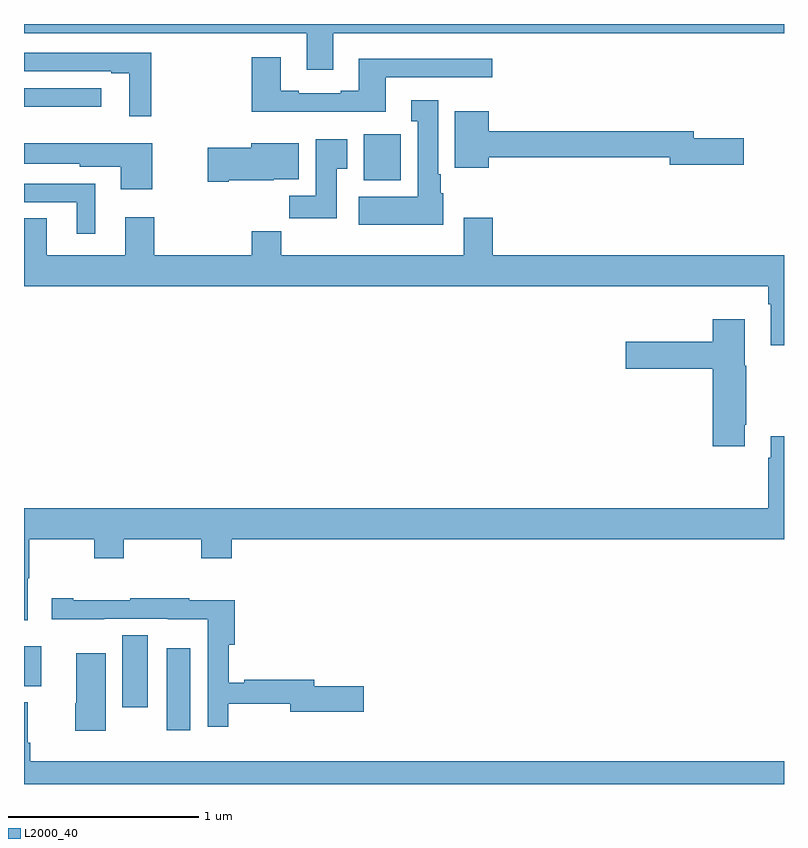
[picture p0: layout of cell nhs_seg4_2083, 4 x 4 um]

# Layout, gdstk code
import gdstk
lib = gdstk.Library(unit=1e-6, precision=1e-09)
def R(c, l, rs):  # rectangles x0, y0, x1, y1
    for r in rs: c.add(gdstk.rectangle(r[:2], r[2:], *l))
def P(c, l, *ps):  # polygons
    for p in ps: c.add(gdstk.Polygon(p, *l))
L2000_40 = (2000, 40)

nhs_seg4_2083 = lib.new_cell('nhs_seg4_2083')
R(nhs_seg4_2083, L2000_40, [(219.752,761.184,219.874,761.614), (219.518,761.304,219.652,761.684), (219,761.414,219.091,761.626), (220.787,764.078,220.984,764.32), (219,764.465,219.406,764.562)])
P(nhs_seg4_2083, L2000_40, [(220.627,764.852),(223,764.852),(223,764.9),(219,764.9),(219,764.852),(220.487,764.852),(220.487,764.658),(220.627,764.658)],
  [(219.671,764.748),(219,764.748),(219,764.652),(219.458,764.652),(219.458,764.64),(219.554,764.64),(219.554,764.415),(219.671,764.415)],
  [(220.903,764.619),(221.464,764.619),(221.464,764.716),(220.763,764.716),(220.763,764.548),(220.667,764.548),(220.667,764.535),(220.447,764.535),(220.447,764.548),(220.351,764.548),(220.351,764.725),(220.199,764.725),(220.199,764.438),(220.903,764.438)],
  [(221.206,764.01),(221.194,764.01),(221.194,764.11),(221.179,764.11),(221.179,764.5),(221.039,764.5),(221.039,764.387),(221.072,764.387),(221.072,763.99),(220.763,763.99),(220.763,763.844),(221.206,763.844)],
  [(221.446,764.2),(222.398,764.2),(222.398,764.158),(222.787,764.158),(222.787,764.3),(222.526,764.3),(222.526,764.336),(221.446,764.336),(221.446,764.44),(221.267,764.44),(221.267,764.144),(221.446,764.144)],
  [(220.645,764.137),(220.702,764.137),(220.702,764.293),(220.535,764.293),(220.535,763.996),(220.396,763.996),(220.396,763.878),(220.645,763.878)],
  [(220.078,764.078),(220.314,764.078),(220.314,764.084),(220.447,764.084),(220.447,764.272),(220.196,764.272),(220.196,764.249),(219.966,764.249),(219.966,764.071),(220.078,764.071)],
  [(219.676,764.272),(219,764.272),(219,764.165),(219.294,764.165),(219.294,764.15),(219.509,764.15),(219.509,764.031),(219.676,764.031)],
  [(219.376,764.058),(219,764.058),(219,763.962),(219.278,763.962),(219.278,763.797),(219.376,763.797)],
  [(223,763.684),(221.468,763.684),(221.468,763.879),(221.315,763.879),(221.315,763.684),(220.355,763.684),(220.355,763.808),(220.199,763.808),(220.199,763.684),(219.686,763.684),(219.686,763.882),(219.533,763.882),(219.533,763.684),(219.121,763.684),(219.121,763.877),(219,763.877),(219,763.52),(222.917,763.52),(222.917,763.424),(222.929,763.424),(222.929,763.209),(223,763.209)],
  [(222.793,762.79),(222.801,762.79),(222.801,763.101),(222.793,763.101),(222.793,763.345),(222.626,763.345),(222.626,763.227),(222.168,763.227),(222.168,763.085),(222.626,763.085),(222.626,762.678),(222.793,762.678)],
  [(219.019,761.984),(219.027,761.984),(219.027,762.188),(219.37,762.188),(219.37,762.089),(219.525,762.089),(219.525,762.188),(219.934,762.188),(219.934,762.089),(220.094,762.089),(220.094,762.188),(223,762.188),(223,762.73),(222.929,762.73),(222.929,762.617),(222.917,762.617),(222.917,762.352),(219,762.352),(219,761.763),(219.019,761.763)],
  [(220.075,761.322),(220.4,761.322),(220.4,761.279),(220.789,761.279),(220.789,761.414),(220.528,761.414),(220.528,761.45),(220.159,761.45),(220.159,761.432),(220.078,761.432),(220.078,761.633),(220.109,761.633),(220.109,761.868),(219.869,761.868),(219.869,761.878),(219.559,761.878),(219.559,761.868),(219.259,761.868),(219.259,761.878),(219.147,761.878),(219.147,761.768),(219.422,761.768),(219.422,761.769),(219.756,761.769),(219.756,761.768),(219.966,761.768),(219.966,761.202),(220.075,761.202)],
  [(219.43,761.587),(219.275,761.587),(219.275,761.325),(219.269,761.325),(219.269,761.181),(219.43,761.181)],
  [(223,761.02),(219.032,761.02),(219.032,761.116),(219.019,761.116),(219.019,761.329),(219,761.329),(219,760.9),(223,760.9)])

lib.write_gds('nhs_seg4_2083.gds')
